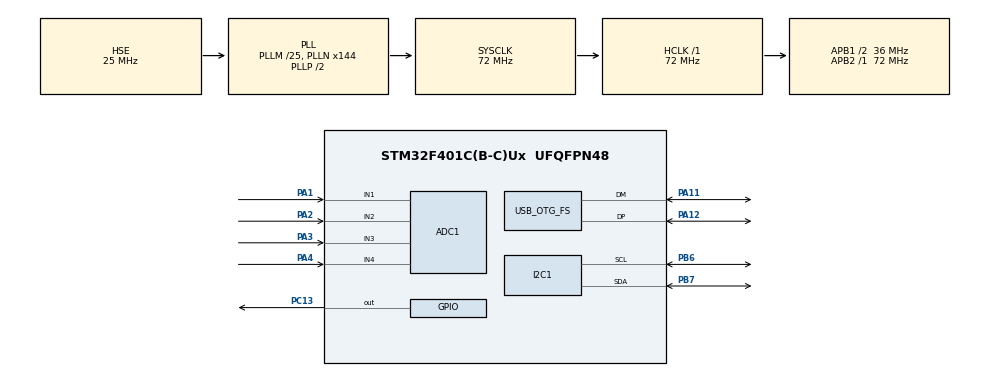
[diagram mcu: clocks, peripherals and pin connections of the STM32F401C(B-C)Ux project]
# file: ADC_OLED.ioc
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ADC1.Channel-0\#ChannelRegularConversion=ADC_CHANNEL_4
ADC1.Channel-1\#ChannelRegularConversion=ADC_CHANNEL_1
ADC1.Channel-2\#ChannelRegularConversion=ADC_CHANNEL_2
ADC1.Channel-3\#ChannelRegularConversion=ADC_CHANNEL_3
ADC1.ContinuousConvMode=DISABLE
ADC1.DMAContinuousRequests=ENABLE
ADC1.ExternalTrigConv=ADC_EXTERNALTRIGCONV_T3_TRGO
ADC1.NbrOfConversion=4
ADC1.NbrOfConversionFlag=1
ADC1.Rank-0\#ChannelRegularConversion=1
ADC1.Rank-1\#ChannelRegularConversion=2
ADC1.Rank-2\#ChannelRegularConversion=3
ADC1.Rank-3\#ChannelRegularConversion=4
ADC1.SamplingTime-0\#ChannelRegularConversion=ADC_SAMPLETIME_28CYCLES
ADC1.SamplingTime-1\#ChannelRegularConversion=ADC_SAMPLETIME_28CYCLES
ADC1.SamplingTime-2\#ChannelRegularConversion=ADC_SAMPLETIME_28CYCLES
ADC1.SamplingTime-3\#ChannelRegularConversion=ADC_SAMPLETIME_28CYCLES
ADC1.ScanConvMode=ENABLE
ADC1.master=1
Dma.ADC1.0.Direction=DMA_PERIPH_TO_MEMORY
Dma.ADC1.0.FIFOMode=DMA_FIFOMODE_DISABLE
Dma.ADC1.0.Instance=DMA2_Stream0
Dma.ADC1.0.MemDataAlignment=DMA_MDATAALIGN_HALFWORD
Dma.ADC1.0.MemInc=DMA_MINC_ENABLE
Dma.ADC1.0.Mode=DMA_CIRCULAR
Dma.ADC1.0.PeriphDataAlignment=DMA_PDATAALIGN_HALFWORD
Dma.ADC1.0.PeriphInc=DMA_PINC_DISABLE
Dma.ADC1.0.Priority=DMA_PRIORITY_HIGH
Dma.Request0=ADC1
FREERTOS.BinarySemaphores01=AdcDoneSem,Dynamic,NULL,Available
FREERTOS.Mutexes01=OledMutex,Dynamic,NULL,Available;UsbMutex,Dynamic,NULL,Available
FREERTOS.Queues01=AdcQueue,4,uint16_t,0,Dynamic,NULL,NULL;LogQueue,8,uint16_t,0,Dynamic,NULL,NULL
FREERTOS.Tasks01=defaultTask,24,128,StartDefaultTask,Default,NULL,Dynamic,NULL,NULL;ADC_task,32,512,startADC,Default,NULL,Dynamic,NULL,NULL;Display,24,768,StartDisplay,Default,NULL,Dynamic,NULL,NULL;LoggerTask,24,768,StartLogger,Default,NULL,Dynamic,NULL,NULL;Led,8,512,StartLow,Default,NULL,Dynamic,NULL,NULL
I2C1.I2C_Mode=I2C_Fast
Mcu.Family=STM32F4
Mcu.Name=STM32F401C(B-C)Ux
Mcu.Package=UFQFPN48
NVIC.DMA2_Stream0_IRQn=true\:5\:0\:false\:false\:true\:true\:false\:true\:true
NVIC.OTG_FS_IRQn=true\:5\:0\:false\:false\:true\:true\:false\:true\:true
NVIC.PriorityGroup=NVIC_PRIORITYGROUP_4
NVIC.TIM1_TRG_COM_TIM11_IRQn=true\:15\:0\:false\:false\:true\:false\:false\:true\:true
NVIC.TimeBase=TIM1_TRG_COM_TIM11_IRQn
NVIC.TimeBaseIP=TIM11
PA1.Signal=ADCx_IN1
PA11.Mode=Device_Only
PA11.Signal=USB_OTG_FS_DM
PA12.Mode=Device_Only
PA12.Signal=USB_OTG_FS_DP
PA2.Signal=ADCx_IN2
PA3.Signal=ADCx_IN3
PA4.Signal=ADCx_IN4
PB6.Mode=I2C
PB6.Signal=I2C1_SCL
PB7.Mode=I2C
PB7.Signal=I2C1_SDA
PC13-ANTI_TAMP.Signal=GPIO_Output
PH0\ -\ OSC_IN.Mode=HSE-External-Oscillator
PH0\ -\ OSC_IN.Signal=RCC_OSC_IN
PH1\ -\ OSC_OUT.Mode=HSE-External-Oscillator
PH1\ -\ OSC_OUT.Signal=RCC_OSC_OUT
ProjectManager.HeapSize=0x200
ProjectManager.StackSize=0x400
ProjectManager.TargetToolchain=STM32CubeIDE
RCC.48MHZClocksFreq_Value=48000000
RCC.AHBFreq_Value=72000000
RCC.APB1CLKDivider=RCC_HCLK_DIV2
RCC.APB1Freq_Value=36000000
RCC.APB1TimFreq_Value=72000000
RCC.APB2Freq_Value=72000000
RCC.APB2TimFreq_Value=72000000
RCC.CortexFreq_Value=72000000
RCC.HCLKFreq_Value=72000000
RCC.HSE_VALUE=25000000
RCC.HSI_VALUE=16000000
RCC.LSE_VALUE=32768
RCC.PLLM=25
RCC.PLLN=144
RCC.PLLQ=3
RCC.SYSCLKFreq_VALUE=72000000
RCC.SYSCLKSource=RCC_SYSCLKSOURCE_PLLCLK
RCC.VCOOutputFreq_Value=144000000
SH.ADCx_IN1.0=ADC1_IN1,IN1
SH.ADCx_IN2.0=ADC1_IN2,IN2
SH.ADCx_IN3.0=ADC1_IN3,IN3
SH.ADCx_IN4.0=ADC1_IN4,IN4
TIM3.Period=9
TIM3.Prescaler=7199
TIM3.TIM_MasterOutputTrigger=TIM_TRGO_UPDATE
USB_DEVICE.CLASS_NAME_FS=CDC
USB_DEVICE.VirtualMode=Cdc
USB_DEVICE.VirtualModeFS=Cdc_FS
USB_OTG_FS.VirtualMode=Device_Only
VP_FREERTOS_VS_CMSIS_V2.Mode=CMSIS_V2
VP_SYS_VS_tim11.Mode=TIM11
VP_TIM3_VS_ClockSourceINT.Mode=Internal
VP_USB_DEVICE_VS_USB_DEVICE_CDC_FS.Mode=CDC_FS
board=custom

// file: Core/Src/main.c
/* USER CODE BEGIN Header */
/**
  ******************************************************************************
  * @file           : main.c
  * @brief          : Main program body
  ******************************************************************************
  * @attention
  *
  * Copyright (c) 2026 STMicroelectronics.
  * All rights reserved.
  *
  * This software is licensed under terms that can be found in the LICENSE file
  * in the root directory of this software component.
  * If no LICENSE file comes with this software, it is provided AS-IS.
  *
  ******************************************************************************
  */
/* USER CODE END Header */
#include "main.h"
#include "cmsis_os.h"
#include "usb_device.h"

/* USER CODE BEGIN Includes */
#include "usbd_cdc_if.h"
#include "fonts.h"
#include "ssd1306.h"

/* USER CODE END Includes */

/* USER CODE BEGIN PTD */
uint16_t adc_values[4];

volatile uint32_t adc_error_count = 0;

//uint16_t adc1=0;
//uint16_t adc2 =0;
//u_int16_t adc3 =0;
//uint16_t adc4=0;

/* USER CODE END PTD */

/* USER CODE BEGIN PD */
typedef struct
{
    uint16_t value[4];
} AdcMessage_t;

typedef struct
{
    char text[128];
} LogMessage_t;
/* USER CODE END PD */

ADC_HandleTypeDef hadc1;
DMA_HandleTypeDef hdma_adc1;

I2C_HandleTypeDef hi2c1;

TIM_HandleTypeDef htim3;

/* Definitions for defaultTask */
osThreadId_t defaultTaskHandle;
const osThreadAttr_t defaultTask_attributes = {
  .name = "defaultTask",
  .stack_size = 128 * 4,
  .priority = (osPriority_t) osPriorityNormal,
};
/* Definitions for ADC_task */
osThreadId_t ADC_taskHandle;
const osThreadAttr_t ADC_task_attributes = {
  .name = "ADC_task",
  .stack_size = 512 * 4,
  .priority = (osPriority_t) osPriorityAboveNormal,
};
/* Definitions for Display */
osThreadId_t DisplayHandle;
const osThreadAttr_t Display_attributes = {
  .name = "Display",
  .stack_size = 768 * 4,
  .priority = (osPriority_t) osPriorityNormal,
};
/* Definitions for LoggerTask */
osThreadId_t LoggerTaskHandle;
const osThreadAttr_t LoggerTask_attributes = {
  .name = "LoggerTask",
  .stack_size = 768 * 4,
  .priority = (osPriority_t) osPriorityNormal,
};
/* Definitions for Led */
osThreadId_t LedHandle;
const osThreadAttr_t Led_attributes = {
  .name = "Led",
  .stack_size = 512 * 4,
  .priority = (osPriority_t) osPriorityLow,
};
/* Definitions for AdcQueue */
osMessageQueueId_t AdcQueueHandle;
const osMessageQueueAttr_t AdcQueue_attributes = {
  .name = "AdcQueue"
};
/* Definitions for LogQueue */
osMessageQueueId_t LogQueueHandle;
const osMessageQueueAttr_t LogQueue_attributes = {
  .name = "LogQueue"
};
/* Definitions for OledMutex */
osMutexId_t OledMutexHandle;
const osMutexAttr_t OledMutex_attributes = {
  .name = "OledMutex"
};
/* Definitions for UsbMutex */
osMutexId_t UsbMutexHandle;
const osMutexAttr_t UsbMutex_attributes = {
  .name = "UsbMutex"
};
/* Definitions for AdcDoneSem */
osSemaphoreId_t AdcDoneSemHandle;
const osSemaphoreAttr_t AdcDoneSem_attributes = {
  .name = "AdcDoneSem"
};

void SystemClock_Config(void);
static void MX_GPIO_Init(void);
static void MX_DMA_Init(void);
static void MX_ADC1_Init(void);
static void MX_I2C1_Init(void);
static void MX_TIM3_Init(void);
void StartDefaultTask(void *argument);
void startADC(void *argument);
void StartDisplay(void *argument);
void StartLogger(void *argument);
void StartLow(void *argument);

/* USER CODE BEGIN PFP */
void print(const char *msg)
{
	uint32_t  start = HAL_GetTick();
	while(CDC_Transmit_FS((uint8_t *)msg,strlen(msg)) == USBD_BUSY)
	{
		if((HAL_GetTick() - start) >= 500)
		{
			return;
		}
		osDelay(1);
	}
}

//void HAL_ADC_ConvCpltCallback(ADC_HandleTypeDef *hadc)
//{
//	if(hadc->Instance == ADC1) dma_complete =1;
//}
volatile uint32_t adc_callback_count = 0;
volatile uint8_t adc_dma_done = 0;
//void HAL_ADC_ConvCpltCallback(ADC_HandleTypeDef *hadc)
//{
//    if (hadc->Instance == ADC1)
//    {
//    	++adc_callback_count;
//        adc_dma_done = 1;
//    }
//}
void HAL_ADC_ConvCpltCallback(ADC_HandleTypeDef *hadc)
{
    if (hadc->Instance == ADC1)
    {
        osSemaphoreRelease(AdcDoneSemHandle);
    }
}
void AppLog(const char *text)
{
    LogMessage_t message;

    strncpy(
        message.text,
        text,
        sizeof(message.text) - 1U);

    message.text[sizeof(message.text) - 1U] = '\0';

    osMessageQueuePut(
        LogQueueHandle,
        &message,
        0,
        0);
}
//void HAL_ADC_ErrorCallback(ADC_HandleTypeDef *hadc)
//{
//	if(hadc->Instance == ADC1) dma_error =1;
//}

volatile uint8_t adc_error_flag = 0;

void HAL_ADC_ErrorCallback(ADC_HandleTypeDef *hadc)
{
    if (hadc->Instance == ADC1)
    {
        adc_error_count++;
        adc_error_flag = 1;
    }
}
/* USER CODE END PFP */

int main(void)
{

  /* MCU Configuration--------------------------------------------------------*/

  /* Reset of all peripherals, Initializes the Flash interface and the Systick. */
  HAL_Init();

  /* Configure the system clock */
  SystemClock_Config();

  /* Initialize all configured peripherals */
  MX_GPIO_Init();
  MX_DMA_Init();
  MX_ADC1_Init();
  MX_I2C1_Init();
  MX_TIM3_Init();

  /* Init scheduler */
  osKernelInitialize();
  /* Create the mutex(es) */
  /* creation of OledMutex */
  OledMutexHandle = osMutexNew(&OledMutex_attributes);

  /* creation of UsbMutex */
  UsbMutexHandle = osMutexNew(&UsbMutex_attributes);

  /* Create the semaphores(s) */
  /* creation of AdcDoneSem */
  AdcDoneSemHandle = osSemaphoreNew(1, 1, &AdcDoneSem_attributes);

  /* Create the queue(s) */
  /* creation of AdcQueue */
  AdcQueueHandle = osMessageQueueNew(
      4,
      sizeof(AdcMessage_t),
      &AdcQueue_attributes);

  /* creation of LogQueue */
  LogQueueHandle = osMessageQueueNew(
      8,
      sizeof(LogMessage_t),
      &LogQueue_attributes);

  /* Create the thread(s) */
  /* creation of defaultTask */
  defaultTaskHandle = osThreadNew(StartDefaultTask, NULL, &defaultTask_attributes);

  /* creation of ADC_task */
  ADC_taskHandle = osThreadNew(startADC, NULL, &ADC_task_attributes);

  /* creation of Display */
  DisplayHandle = osThreadNew(StartDisplay, NULL, &Display_attributes);

  /* creation of LoggerTask */
  LoggerTaskHandle = osThreadNew(StartLogger, NULL, &LoggerTask_attributes);

  /* creation of Led */
  LedHandle = osThreadNew(StartLow, NULL, &Led_attributes);

  /* Start scheduler */
  osKernelStart();

  /* We should never get here as control is now taken by the scheduler */

  /* Infinite loop */
  while (1)
  {

  }
}

void SystemClock_Config(void)
{
  RCC_OscInitTypeDef RCC_OscInitStruct = {0};
  RCC_ClkInitTypeDef RCC_ClkInitStruct = {0};

  /** Configure the main internal regulator output voltage
  */
  __HAL_RCC_PWR_CLK_ENABLE();
  __HAL_PWR_VOLTAGESCALING_CONFIG(PWR_REGULATOR_VOLTAGE_SCALE2);

  /** Initializes the RCC Oscillators according to the specified parameters
  * in the RCC_OscInitTypeDef structure.
  */
  RCC_OscInitStruct.OscillatorType = RCC_OSCILLATORTYPE_HSE;
  RCC_OscInitStruct.HSEState = RCC_HSE_ON;
  RCC_OscInitStruct.PLL.PLLState = RCC_PLL_ON;
  RCC_OscInitStruct.PLL.PLLSource = RCC_PLLSOURCE_HSE;
  RCC_OscInitStruct.PLL.PLLM = 25;
  RCC_OscInitStruct.PLL.PLLN = 144;
  RCC_OscInitStruct.PLL.PLLP = RCC_PLLP_DIV2;
  RCC_OscInitStruct.PLL.PLLQ = 3;
  if (HAL_RCC_OscConfig(&RCC_OscInitStruct) != HAL_OK)
  {
    Error_Handler();
  }

  /** Initializes the CPU, AHB and APB buses clocks
  */
  RCC_ClkInitStruct.ClockType = RCC_CLOCKTYPE_HCLK|RCC_CLOCKTYPE_SYSCLK
                              |RCC_CLOCKTYPE_PCLK1|RCC_CLOCKTYPE_PCLK2;
  RCC_ClkInitStruct.SYSCLKSource = RCC_SYSCLKSOURCE_PLLCLK;
  RCC_ClkInitStruct.AHBCLKDivider = RCC_SYSCLK_DIV1;
  RCC_ClkInitStruct.APB1CLKDivider = RCC_HCLK_DIV2;
  RCC_ClkInitStruct.APB2CLKDivider = RCC_HCLK_DIV1;

  if (HAL_RCC_ClockConfig(&RCC_ClkInitStruct, FLASH_LATENCY_2) != HAL_OK)
  {
    Error_Handler();
  }
}

static void MX_ADC1_Init(void)
{

  ADC_ChannelConfTypeDef sConfig = {0};

  /** Configure the global features of the ADC (Clock, Resolution, Data Alignment and number of conversion)
  */
  hadc1.Instance = ADC1;
  hadc1.Init.ClockPrescaler = ADC_CLOCK_SYNC_PCLK_DIV2;
  hadc1.Init.Resolution = ADC_RESOLUTION_12B;
  hadc1.Init.ScanConvMode = ENABLE;
  hadc1.Init.ContinuousConvMode = DISABLE;
  hadc1.Init.DiscontinuousConvMode = DISABLE;
  hadc1.Init.ExternalTrigConvEdge = ADC_EXTERNALTRIGCONVEDGE_RISING;
  hadc1.Init.ExternalTrigConv = ADC_EXTERNALTRIGCONV_T3_TRGO;
  hadc1.Init.DataAlign = ADC_DATAALIGN_RIGHT;
  hadc1.Init.NbrOfConversion = 4;
  hadc1.Init.DMAContinuousRequests = ENABLE;
  hadc1.Init.EOCSelection = ADC_EOC_SINGLE_CONV;
  if (HAL_ADC_Init(&hadc1) != HAL_OK)
  {
    Error_Handler();
  }

  /** Configure for the selected ADC regular channel its corresponding rank in the sequencer and its sample time.
  */
  sConfig.Channel = ADC_CHANNEL_4;
  sConfig.Rank = 1;
  sConfig.SamplingTime = ADC_SAMPLETIME_28CYCLES;
  if (HAL_ADC_ConfigChannel(&hadc1, &sConfig) != HAL_OK)
  {
    Error_Handler();
  }

  /** Configure for the selected ADC regular channel its corresponding rank in the sequencer and its sample time.
  */
  sConfig.Channel = ADC_CHANNEL_1;
  sConfig.Rank = 2;
  if (HAL_ADC_ConfigChannel(&hadc1, &sConfig) != HAL_OK)
  {
    Error_Handler();
  }

  /** Configure for the selected ADC regular channel its corresponding rank in the sequencer and its sample time.
  */
  sConfig.Channel = ADC_CHANNEL_2;
  sConfig.Rank = 3;
  if (HAL_ADC_ConfigChannel(&hadc1, &sConfig) != HAL_OK)
  {
    Error_Handler();
  }

  /** Configure for the selected ADC regular channel its corresponding rank in the sequencer and its sample time.
  */
  sConfig.Channel = ADC_CHANNEL_3;
  sConfig.Rank = 4;
  if (HAL_ADC_ConfigChannel(&hadc1, &sConfig) != HAL_OK)
  {
    Error_Handler();
  }

}

static void MX_I2C1_Init(void)
{

  hi2c1.Instance = I2C1;
  hi2c1.Init.ClockSpeed = 400000;
  hi2c1.Init.DutyCycle = I2C_DUTYCYCLE_2;
  hi2c1.Init.OwnAddress1 = 0;
  hi2c1.Init.AddressingMode = I2C_ADDRESSINGMODE_7BIT;
  hi2c1.Init.DualAddressMode = I2C_DUALADDRESS_DISABLE;
  hi2c1.Init.OwnAddress2 = 0;
  hi2c1.Init.GeneralCallMode = I2C_GENERALCALL_DISABLE;
  hi2c1.Init.NoStretchMode = I2C_NOSTRETCH_DISABLE;
  if (HAL_I2C_Init(&hi2c1) != HAL_OK)
  {
    Error_Handler();
  }

}

static void MX_TIM3_Init(void)
{

  TIM_ClockConfigTypeDef sClockSourceConfig = {0};
  TIM_MasterConfigTypeDef sMasterConfig = {0};

  htim3.Instance = TIM3;
  htim3.Init.Prescaler = 7199;
  htim3.Init.CounterMode = TIM_COUNTERMODE_UP;
  htim3.Init.Period = 9;
  htim3.Init.ClockDivision = TIM_CLOCKDIVISION_DIV1;
  htim3.Init.AutoReloadPreload = TIM_AUTORELOAD_PRELOAD_DISABLE;
  if (HAL_TIM_Base_Init(&htim3) != HAL_OK)
  {
    Error_Handler();
  }
  sClockSourceConfig.ClockSource = TIM_CLOCKSOURCE_INTERNAL;
  if (HAL_TIM_ConfigClockSource(&htim3, &sClockSourceConfig) != HAL_OK)
  {
    Error_Handler();
  }
  sMasterConfig.MasterOutputTrigger = TIM_TRGO_UPDATE;
  sMasterConfig.MasterSlaveMode = TIM_MASTERSLAVEMODE_DISABLE;
  if (HAL_TIMEx_MasterConfigSynchronization(&htim3, &sMasterConfig) != HAL_OK)
  {
    Error_Handler();
  }

}

static void MX_DMA_Init(void)
{

  /* DMA controller clock enable */
  __HAL_RCC_DMA2_CLK_ENABLE();

  /* DMA interrupt init */
  /* DMA2_Stream0_IRQn interrupt configuration */
  HAL_NVIC_SetPriority(DMA2_Stream0_IRQn, 5, 0);
  HAL_NVIC_EnableIRQ(DMA2_Stream0_IRQn);

}

static void MX_GPIO_Init(void)
{
  GPIO_InitTypeDef GPIO_InitStruct = {0};

  /* GPIO Ports Clock Enable */
  __HAL_RCC_GPIOC_CLK_ENABLE();
  __HAL_RCC_GPIOH_CLK_ENABLE();
  __HAL_RCC_GPIOA_CLK_ENABLE();
  __HAL_RCC_GPIOB_CLK_ENABLE();

  /*Configure GPIO pin Output Level */
  HAL_GPIO_WritePin(GPIOC, GPIO_PIN_13, GPIO_PIN_RESET);

  /*Configure GPIO pin : PC13 */
  GPIO_InitStruct.Pin = GPIO_PIN_13;
  GPIO_InitStruct.Mode = GPIO_MODE_OUTPUT_PP;
  GPIO_InitStruct.Pull = GPIO_NOPULL;
  GPIO_InitStruct.Speed = GPIO_SPEED_FREQ_LOW;
  HAL_GPIO_Init(GPIOC, &GPIO_InitStruct);

}

void StartDefaultTask(void *argument)
{
  /* init code for USB_DEVICE */
 // MX_USB_DEVICE_Init();
  /* USER CODE BEGIN 5 */
  /* Infinite loop */
	osThreadExit();
  /* USER CODE END 5 */
}

void startADC(void *argument)
{
  /* USER CODE BEGIN startADC */
	AdcMessage_t sample;
	    LogMessage_t log_message;

	    if (HAL_ADC_Start_DMA(
	            &hadc1,
	            (uint32_t *)adc_values,
	            4U) != HAL_OK)
	    {
	        Error_Handler();
	    }
	    if (HAL_TIM_Base_Start(&htim3) != HAL_OK)
	       {
	           Error_Handler();
	       }
	    AppLog("ADC task started\r\n");
	    /* Infinite loop */
  for(;;)
  {
	  if (osSemaphoreAcquire(
	                 AdcDoneSemHandle,
	                 osWaitForever) == osOK)
	         {
	          adc_dma_done = 0;

	          sample.value[0] = adc_values[0];
	          sample.value[1] = adc_values[1];
	          sample.value[2] = adc_values[2];
	          sample.value[3] = adc_values[3];

	          osMessageQueuePut(
	              AdcQueueHandle,
	              &sample,
	              0,
	              0);

	          snprintf(
	              log_message.text,
	              sizeof(log_message.text),
	              "ADC: %u | %u | %u | %u\r\n",
	              sample.value[0],
	              sample.value[1],
	              sample.value[2],
	              sample.value[3]);

	          osMessageQueuePut(
	              LogQueueHandle,
	              &log_message,
	              0,
	              0);
	      }

	      osDelay(1);
  }
  /* USER CODE END startADC */
}

void StartDisplay(void *argument)
{
  /* USER CODE BEGIN StartDisplay */
	 AdcMessage_t sample;
	    char text[32];

	    if (osMutexAcquire(OledMutexHandle, osWaitForever) == osOK)
	    {
	        ssd1306_Init(&hi2c1);
	        ssd1306_Fill(Black);

	        ssd1306_SetCursor(0, 0);
	        ssd1306_WriteString(
	            "ADC Monitor",
	            Font_7x10,
	            White);

	        ssd1306_UpdateScreen(&hi2c1);

	        osMutexRelease(OledMutexHandle);
	    }

  /* Infinite loop */
  for(;;)
  {
	  if (osMessageQueueGet(
	                  AdcQueueHandle,
	                  &sample,
	                  NULL,
	                  osWaitForever) == osOK)
	          {
	              snprintf(
	                  text,
	                  sizeof(text),
	                  "%u %u %u %u",
	                  sample.value[0],
	                  sample.value[1],
	                  sample.value[2],
	                  sample.value[3]);

	              if (osMutexAcquire(
	                      OledMutexHandle,
	                      osWaitForever) == osOK)
	              {
	                  ssd1306_Fill(Black);

	                  ssd1306_SetCursor(0, 0);
	                  ssd1306_WriteString(
	                      "ADC Monitor",
	                      Font_7x10,
	                      White);

	                  ssd1306_SetCursor(0, 20);
	                  ssd1306_WriteString(
	                      text,
	                      Font_7x10,
	                      White);

	                  ssd1306_UpdateScreen(&hi2c1);

	                  osMutexRelease(OledMutexHandle);
	              }
	          }
    osDelay(1);
  }
  /* USER CODE END StartDisplay */
}

void StartLogger(void *argument)
{
  /* USER CODE BEGIN StartLogger */
	 LogMessage_t message;

	    MX_USB_DEVICE_Init();
  /* Infinite loop */
  for(;;)
  {
	  if (osMessageQueueGet(
	                  LogQueueHandle,
	                  &message,
	                  NULL,
	                  osWaitForever) == osOK)
	          {
	              if (osMutexAcquire(
	                      UsbMutexHandle,
	                      osWaitForever) == osOK)
	              {
	                  uint32_t start = HAL_GetTick();

	                  while (CDC_Transmit_FS(
	                             (uint8_t *)message.text,
	                             strlen(message.text)) == USBD_BUSY)
	                  {
	                      if ((HAL_GetTick() - start) > 500U)
	                      {
	                          break;
	                      }

	                      osDelay(1);
	                  }

	                  osMutexRelease(UsbMutexHandle);
	              }
	          }
    osDelay(1);
  }
  /* USER CODE END StartLogger */
}

void StartLow(void *argument)
{
  /* USER CODE BEGIN StartLow */
	 uint32_t last_wake_time = osKernelGetTickCount();
  /* Infinite loop */
  for(;;)
  {

	  HAL_GPIO_TogglePin(GPIOC, GPIO_PIN_13);

	          last_wake_time += 500U;
	          osDelayUntil(last_wake_time);
    osDelay(1);
  }
  /* USER CODE END StartLow */
}

void HAL_TIM_PeriodElapsedCallback(TIM_HandleTypeDef *htim)
{
  if (htim->Instance == TIM11)
  {
    HAL_IncTick();
  }
}

void Error_Handler(void)
{
  __disable_irq();
  while (1)
  {
  }
}
